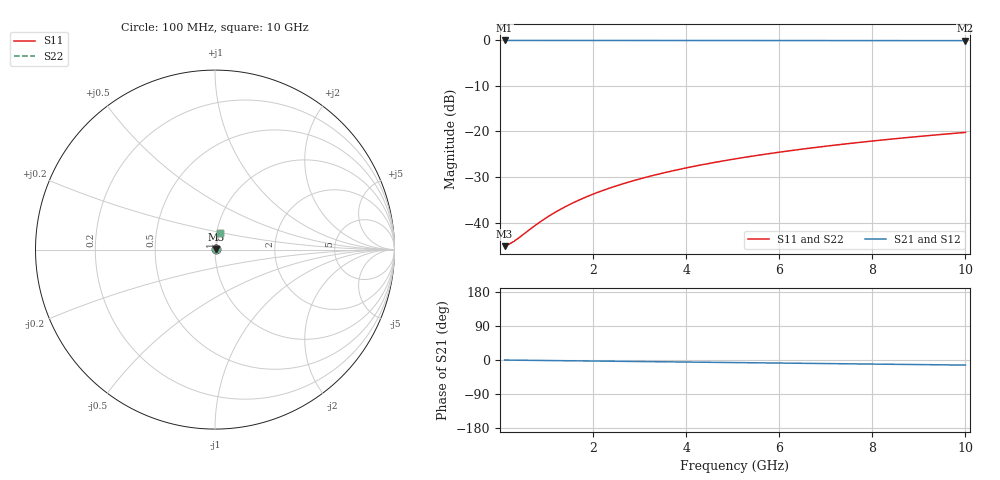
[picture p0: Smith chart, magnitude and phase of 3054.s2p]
# Hz S RI R 50.00
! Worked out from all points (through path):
!   100 points, 100 MHz to 10 GHz, reference 50 ohm
!   highest |S21| = -0.05 dB at 100 MHz (marker M1); lowest = -0.1 dB at 10 GHz (marker M2)
!   group delay of S21, straight-line fit = 3.73 ps
!   lowest |S11| = -45.2 dB at 100 MHz (marker M3), VSWR 1.01, Z = 50.5 + j0.0984 ohm
!   |S11| at or under -10 dB: start of sweep to end of sweep
!   |S22| runs from -45.2 to -20.2 dB; largest |S21 - S12| = 0
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1e8  0.00543 0.000973  0.9946 -0.00233  0.9946 -0.00233  0.00543 0.000973
2e8  0.00547 0.00195  0.9945 -0.00467  0.9945 -0.00467  0.00547 0.00195
3e8  0.00551 0.00292  0.9945 -0.007  0.9945 -0.007  0.00551 0.00292
4e8  0.00554 0.00389  0.9944 -0.00933  0.9944 -0.00933  0.00554 0.00389
8e8  0.00571 0.00778  0.9942 -0.0187  0.9942 -0.0187  0.00571 0.00778
1.1e9  0.00588 0.0107  0.994 -0.0257  0.994 -0.0257  0.00588 0.0107
1.4e9  0.00608 0.0136  0.9937 -0.0327  0.9937 -0.0327  0.00608 0.0136
1.6e9  0.00623 0.0155  0.9935 -0.0373  0.9935 -0.0373  0.00623 0.0155
1.8e9  0.0064 0.0175  0.9933 -0.042  0.9933 -0.042  0.0064 0.0175
2.1e9  0.00669 0.0204  0.9929 -0.049  0.9929 -0.049  0.00669 0.0204
2.5e9  0.00713 0.0242  0.9923 -0.0583  0.9923 -0.0583  0.00713 0.0242
2.9e9  0.00765 0.0281  0.9915 -0.0676  0.9915 -0.0676  0.00765 0.0281
3.4e9  0.00839 0.0329  0.9905 -0.0792  0.9905 -0.0792  0.00839 0.0329
3.8e9  0.00906 0.0367  0.9895 -0.0884  0.9895 -0.0884  0.00906 0.0367
4.2e9  0.00981 0.0405  0.9885 -0.0977  0.9885 -0.0977  0.00981 0.0405
4.6e9  0.0106 0.0443  0.9873 -0.1069  0.9873 -0.1069  0.0106 0.0443
5.1e9  0.0117 0.049  0.9858 -0.1185  0.9858 -0.1185  0.0117 0.049
5.9e9  0.0138 0.0565  0.9829 -0.1369  0.9829 -0.1369  0.0138 0.0565
6.7e9  0.0161 0.0639  0.9797 -0.1552  0.9797 -0.1552  0.0161 0.0639
7.5e9  0.0186 0.0712  0.976 -0.1734  0.976 -0.1734  0.0186 0.0712
8.4e9  0.0218 0.0793  0.9715 -0.1937  0.9715 -0.1937  0.0218 0.0793
1e10  0.0284 0.0933  0.9622 -0.2295  0.9622 -0.2295  0.0284 0.0933
